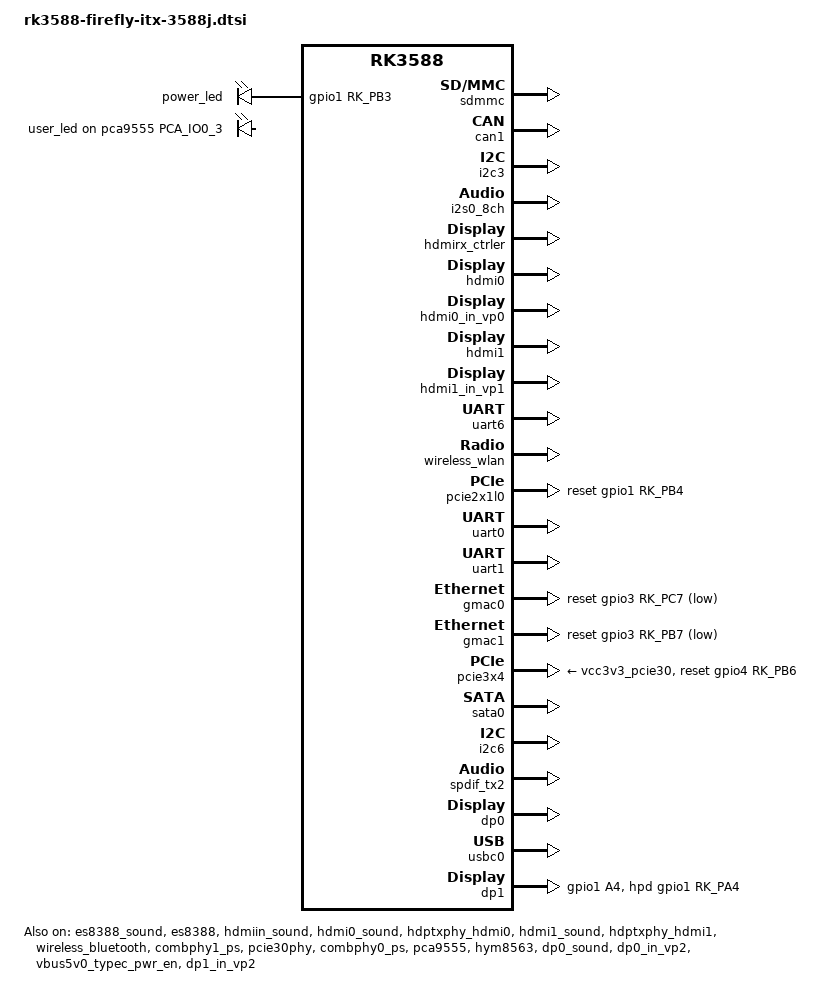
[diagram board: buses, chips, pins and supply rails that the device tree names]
// SPDX-License-Identifier: (GPL-2.0+ OR MIT)
/*
 * Copyright (c) 2021 Rockchip Electronics Co., Ltd.
 *
 */

 #include "rk3588-firefly-port.dtsi"

 / {

};

/* led */
&power_led{
	gpios = <&gpio1 RK_PB3 GPIO_ACTIVE_HIGH>;
	pinctrl-names = "default";
	pinctrl-0 = <&led_power>;
};

&user_led{
	gpios = <&pca9555 PCA_IO0_3 GPIO_ACTIVE_HIGH>;
};


/* FAN */
&vcc_fan_pwr_en{
	status = "okay";
	gpio = <&pca9555 PCA_IO1_3 GPIO_ACTIVE_HIGH>;  //PCA_IO 13
};


/* tf-card */
&sdmmc {
	status = "okay";
};

&vcc_sdcard_pwr_en{
	gpio = <&pca9555 PCA_IO1_5 GPIO_ACTIVE_HIGH>;  //PCA_IO 15
	status = "okay";
};

/* can1 */
&can1 {
	status = "okay";
	assigned-clocks = <&cru CLK_CAN1>;
	assigned-clock-rates = <200000000>;
	pinctrl-names = "default";
	pinctrl-0 = <&can1m1_pins>;
};

/* es8323 audio codec */
&i2c3 {
	status = "okay";
};

&es8388_sound{
	status = "okay";
};

&es8388{
	status = "okay";
};

&i2s0_8ch{
	status = "okay";
};

/* hdmi rx */
&hdmiin_sound{
	status = "okay";
};

&hdmirx_ctrler {
	status = "okay";
	hpd-trigger-level = <1>;
	hdmirx-det-gpios = <&gpio1 RK_PD5 GPIO_ACTIVE_LOW>;
};

/* hdmi0 */
&hdmi0 {
	enable-gpios = <&gpio4 RK_PA0 GPIO_ACTIVE_HIGH>;
	status = "okay";
};

&hdmi0_in_vp0 {
	status = "okay";
};

&hdmi0_sound {
	status = "okay";
};

&hdptxphy_hdmi0 {
	status = "okay";
};

/* hdmi1 */
&hdmi1 {
	enable-gpios = <&gpio4 RK_PB2 GPIO_ACTIVE_HIGH>;
	status = "okay";
};

&hdmi1_sound {
	status = "okay";
};

&hdmi1_in_vp1 {
        status = "okay";
};

&hdptxphy_hdmi1 {
	status = "okay";
};

/*ap6275 : bluetooth*/
&wireless_bluetooth{
	status = "okay";
};

&uart6 {
	pinctrl-names = "default";
	pinctrl-0 = <&uart6m1_xfer &uart6m1_ctsn>;
	status = "okay";
};

/* ap6275 : wifi */
&wireless_wlan{
	wifi_chip_type = "ap6275p";
	status = "okay";
};

&combphy1_ps {
	status = "okay";
};

&pcie2x1l0 {
	reset-gpios = <&gpio1 RK_PB4 GPIO_ACTIVE_HIGH>;
	rockchip,skip-scan-in-resume;
	status = "okay";
};

/* uart/232/485 */
&uart0{
	pinctrl-0 = <&uart0m2_xfer>;
	status = "okay";
};

&uart1{
	pinctrl-0 = <&uart1m1_xfer>;
	status = "okay";
};

/* gamc0 */
&gmac0 {
	snps,reset-gpio = <&gpio3 RK_PC7 GPIO_ACTIVE_LOW>;
	tx_delay = <0x45>;
	status = "okay";
};

/* gmac1 */
&gmac1 {
	snps,reset-gpio = <&gpio3 RK_PB7 GPIO_ACTIVE_LOW>;
	tx_delay = <0x42>;
	status = "okay";
};

/* pcie3.0 x 4 slot */
&pcie30phy {
	status = "okay";
};

&pcie3x4 {
	reset-gpios = <&gpio4 RK_PB6 GPIO_ACTIVE_HIGH>;
	vpcie3v3-supply = <&vcc3v3_pcie30>;
	status = "okay";
};

&vcc3v3_pcie30{
	gpios = <&gpio2 RK_PC5 GPIO_ACTIVE_HIGH>;
	startup-delay-us = <5000>;
	status = "okay";
};

/* sata pm */
&combphy0_ps {
	status = "okay";
};

&sata0 {
	status = "okay";
};

&vcc_sata_pwr_en{
	status = "okay";
	gpio = <&pca9555 PCA_IO1_2 GPIO_ACTIVE_HIGH>;  //PCA_IO 12
};

/* usb power */
&vcc5v0_host{
	gpio = <&pca9555 PCA_IO0_5 GPIO_ACTIVE_HIGH>;
	vin-supply = <&vcc5v0_usb>;
	status = "okay";
};

&vcc_hub_reset{
	status = "okay"; 
	gpio = <&pca9555 PCA_IO0_4 GPIO_ACTIVE_HIGH>;  //PCA_IO 04
};

&vcc_hub3_reset{
	status = "okay";
	gpio = <&pca9555 PCA_IO0_6 GPIO_ACTIVE_HIGH>;  //PCA_IO 06
};

&vcc5v0_host3{
	gpio = <&pca9555 PCA_IO0_7 GPIO_ACTIVE_HIGH>;  //PCA_IO 07
	status = "okay";
};


/* i2c6 */
&i2c6 {
	status = "okay";
};

/* pca9555 */
&pca9555{ 
	status = "okay"; 
};

/* rtc */
&hym8563{
	interrupt-parent = <&gpio0>;
	interrupts = <RK_PB0 IRQ_TYPE_LEVEL_LOW>;
	status = "okay";
};

/* display port0 */
&spdif_tx2{
	status = "okay";
};

&dp0_sound{
	status = "okay";
};

&dp0 {
	status = "okay";
};

&dp0_in_vp2 {
	status = "okay";
};

&usbc0{
	status = "okay";
	interrupt-parent = <&gpio0>;
	interrupts = <RK_PD3 IRQ_TYPE_LEVEL_LOW>;
};

&vbus5v0_typec_pwr_en{
	status = "okay";
	gpio = <&pca9555 PCA_IO1_4 GPIO_ACTIVE_HIGH>;  //PCA_IO 14
};

/* display port1 to vga */
&dp1_in_vp2 {
	status = "okay";
};

&dp1 {
	pinctrl-names = "default";
	pinctrl-0 = <&dp1_hpd>;
	hpd-gpios = <&gpio1 RK_PA4 GPIO_ACTIVE_HIGH>;
	status = "okay";
};

&pinctrl {

	dp {
		dp1_hpd: dp1-hpd {
			 rockchip,pins = <1 RK_PA4 RK_FUNC_GPIO &pcfg_pull_none>;
		};
	};

	leds {
		led_power: led-power {
			rockchip,pins = <1 11 RK_FUNC_GPIO &pcfg_pull_none>;
		};
 	};

	hdmirx {
		hdmirx_det: hdmirx-det {
			rockchip,pins = <1 RK_PD5 RK_FUNC_GPIO &pcfg_pull_up>;
		};
	};

	headphone {
		hp_det: hp-det {
			rockchip,pins = <1 RK_PC4 RK_FUNC_GPIO &pcfg_pull_none>;
		};
	};

	hym8563 {
		hym8563_int: hym8563-int {
			rockchip,pins = <0 RK_PB0 RK_FUNC_GPIO &pcfg_pull_up>;
		};
	};

	lcd {
		lcd_rst_gpio: lcd-rst-gpio {
			rockchip,pins = <2 RK_PB4 RK_FUNC_GPIO &pcfg_pull_none>;
		};
	};

	touch {
		touch_gpio: touch-gpio {
			rockchip,pins =
				<0 RK_PD5 RK_FUNC_GPIO &pcfg_pull_up>,
				<0 RK_PC6 RK_FUNC_GPIO &pcfg_pull_none>;
		};
	};

	usb-typec { 
		usbc0_int: usbc0-int { 
			rockchip,pins = <0 RK_PD3 RK_FUNC_GPIO &pcfg_pull_up>; 
		}; 
	};

	wireless-bluetooth {
		uart6_gpios: uart6-gpios {
			rockchip,pins = <1 RK_PA2 RK_FUNC_GPIO &pcfg_pull_none>;
		};

		bt_reset_gpio: bt-reset-gpio {
			rockchip,pins = <0 RK_PC6 RK_FUNC_GPIO &pcfg_pull_none>;
		};

		bt_wake_gpio: bt-wake-gpio {
			rockchip,pins = <0 RK_PC5 RK_FUNC_GPIO &pcfg_pull_none>;
		};

		bt_irq_gpio: bt-irq-gpio {
			rockchip,pins = <0 RK_PA0 RK_FUNC_GPIO &pcfg_pull_down>;
		};
	};

	wireless-wlan {
		wifi_host_wake_irq: wifi-host-wake-irq {
			rockchip,pins = <0 RK_PB2 RK_FUNC_GPIO &pcfg_pull_down>;
		};

		wifi_poweren_gpio: wifi-poweren-gpio {
			rockchip,pins = <0 RK_PC4 RK_FUNC_GPIO &pcfg_pull_up>;
		};
	};
};


